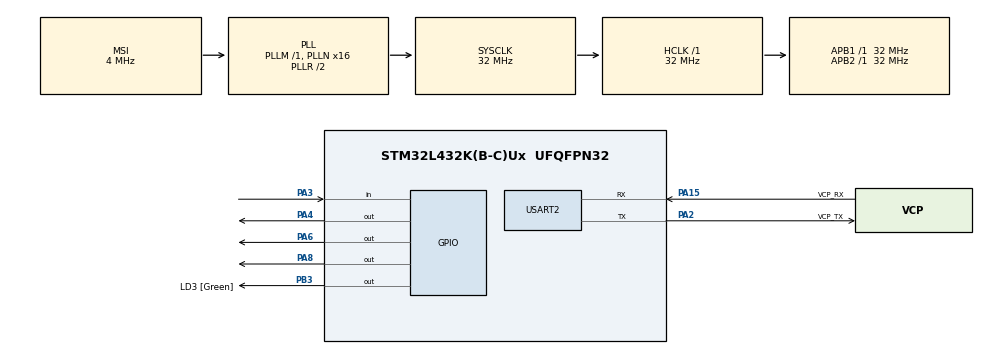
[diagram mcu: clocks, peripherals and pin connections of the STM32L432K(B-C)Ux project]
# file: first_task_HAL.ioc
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Mcu.Family=STM32L4
Mcu.Name=STM32L432K(B-C)Ux
Mcu.Package=UFQFPN32
NVIC.PriorityGroup=NVIC_PRIORITYGROUP_4
PA0.GPIO_Label=MCO [High speed clock in]
PA0.Mode=HSE-External-Clock-Source-for-LittleOrca
PA0.Signal=RCC_CK_IN
PA13\ (JTMS-SWDIO).GPIO_Label=SWDIO
PA13\ (JTMS-SWDIO).Mode=Serial_Wire
PA13\ (JTMS-SWDIO).Signal=SYS_JTMS-SWDIO
PA14\ (JTCK-SWCLK).GPIO_Label=SWCLK
PA14\ (JTCK-SWCLK).Mode=Serial_Wire
PA14\ (JTCK-SWCLK).Signal=SYS_JTCK-SWCLK
PA15\ (JTDI).GPIO_Label=VCP_RX
PA15\ (JTDI).Mode=Asynchronous
PA15\ (JTDI).Signal=USART2_RX
PA2.GPIO_Label=VCP_TX
PA2.Mode=Asynchronous
PA2.Signal=USART2_TX
PA3.Signal=GPIO_Input
PA4.Signal=GPIO_Output
PA6.Signal=GPIO_Output
PA8.Signal=GPIO_Output
PB3\ (JTDO-TRACESWO).GPIO_Label=LD3 [Green]
PB3\ (JTDO-TRACESWO).Signal=GPIO_Output
PC14-OSC32_IN\ (PC14).Mode=LSE-External-Oscillator
PC14-OSC32_IN\ (PC14).Signal=RCC_OSC32_IN
PC15-OSC32_OUT\ (PC15).Mode=LSE-External-Oscillator
PC15-OSC32_OUT\ (PC15).Signal=RCC_OSC32_OUT
ProjectManager.HeapSize=0x200
ProjectManager.StackSize=0x400
ProjectManager.TargetToolchain=STM32CubeIDE
RCC.AHBFreq_Value=32000000
RCC.APB1Freq_Value=32000000
RCC.APB1TimFreq_Value=32000000
RCC.APB2Freq_Value=32000000
RCC.APB2TimFreq_Value=32000000
RCC.CortexFreq_Value=32000000
RCC.HCLKFreq_Value=32000000
RCC.HSE_VALUE=8000000
RCC.HSI16_VALUE=16000000
RCC.HSI48_VALUE=48000000
RCC.HSI_VALUE=16000000
RCC.MSI_VALUE=4000000
RCC.PLLMUL=RCC_PLLMUL_4
RCC.PLLN=16
RCC.SYSCLKFreq_VALUE=32000000
RCC.SYSCLKSource=RCC_SYSCLKSOURCE_PLLCLK
RCC.VCOOutputFreq_Value=64000000
USART2.VirtualMode-Asynchronous=VM_ASYNC
board=NUCLEO-L432KC

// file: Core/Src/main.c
/* USER CODE BEGIN Header */
/**
  ******************************************************************************
  * @file           : main.c
  * @brief          : Main program body
  ******************************************************************************
  * @attention
  *
  * Copyright (c) 2023 STMicroelectronics.
  * All rights reserved.
  *
  * This software is licensed under terms that can be found in the LICENSE file
  * in the root directory of this software component.
  * If no LICENSE file comes with this software, it is provided AS-IS.
  *
  ******************************************************************************
  */
/* USER CODE END Header */
#include "main.h"

UART_HandleTypeDef huart2;

void SystemClock_Config(void);
static void MX_GPIO_Init(void);
static void MX_USART2_UART_Init(void);

int main(void)
{

  /* MCU Configuration--------------------------------------------------------*/

  /* Reset of all peripherals, Initializes the Flash interface and the Systick. */
  HAL_Init();

  /* Configure the system clock */
  SystemClock_Config();

  /* Initialize all configured peripherals */
  MX_GPIO_Init();
  MX_USART2_UART_Init();

  /* Infinite loop */
  /* USER CODE BEGIN WHILE */
  //turn all 3 LEDs off at the start
    HAL_GPIO_WritePin(GPIOA, GPIO_PIN_8, GPIO_PIN_SET);
    HAL_GPIO_WritePin(GPIOA, GPIO_PIN_4, GPIO_PIN_SET);
    HAL_GPIO_WritePin(GPIOA, GPIO_PIN_6, GPIO_PIN_SET);

    int i = 0;

    while (1)
    {
  	  //check if the button is pressed
  	  if (HAL_GPIO_ReadPin(GPIOA, GPIO_PIN_3))
  	  {
  		 //wait a bit for button debouncing
  		 HAL_Delay(50);

  		 while(HAL_GPIO_ReadPin(GPIOA, GPIO_PIN_3))
  		 {
  			 ;
  		 }

  		 if (0 == i)
  			  {
  				//turn off green and blue factor of LED
  			  	HAL_GPIO_WritePin(GPIOA, GPIO_PIN_8, GPIO_PIN_SET);
  			  	HAL_GPIO_WritePin(GPIOA, GPIO_PIN_4, GPIO_PIN_SET);
  				//light LED red
  				HAL_GPIO_WritePin(GPIOA, GPIO_PIN_6, GPIO_PIN_RESET);

  				i = 1;

  			  }
  		  else if (1 == i)
  			  {
  			  	//turn off red and blue factor of LED
  			  	HAL_GPIO_WritePin(GPIOA, GPIO_PIN_6, GPIO_PIN_SET);
  			  	HAL_GPIO_WritePin(GPIOA, GPIO_PIN_4, GPIO_PIN_SET);
  			  	//light LED green
  				HAL_GPIO_WritePin(GPIOA, GPIO_PIN_8, GPIO_PIN_RESET);

  				i = 2;
  			  }
  		  else if (2 == i)
  			  {
  			  	//turn off red and green factor of LED
  			  	HAL_GPIO_WritePin(GPIOA, GPIO_PIN_6, GPIO_PIN_SET);
  			  	HAL_GPIO_WritePin(GPIOA, GPIO_PIN_8, GPIO_PIN_SET);
  			  	//light LED blue
  				HAL_GPIO_WritePin(GPIOA, GPIO_PIN_4, GPIO_PIN_RESET);

  				i = 3;
  			  }
  		 else if (3 == i)
  		  			  {
  		  			  	//turn off LED
  		  			  	HAL_GPIO_WritePin(GPIOA, GPIO_PIN_6, GPIO_PIN_SET);
  		  			  	HAL_GPIO_WritePin(GPIOA, GPIO_PIN_8, GPIO_PIN_SET);
  		  				HAL_GPIO_WritePin(GPIOA, GPIO_PIN_4, GPIO_PIN_SET);

  		  				i = 0;
  		  			  }

  	  }
    /* USER CODE END WHILE */

  }
}

void SystemClock_Config(void)
{
  RCC_OscInitTypeDef RCC_OscInitStruct = {0};
  RCC_ClkInitTypeDef RCC_ClkInitStruct = {0};

  /** Configure the main internal regulator output voltage
  */
  if (HAL_PWREx_ControlVoltageScaling(PWR_REGULATOR_VOLTAGE_SCALE1) != HAL_OK)
  {
    Error_Handler();
  }

  /** Configure LSE Drive Capability
  */
  HAL_PWR_EnableBkUpAccess();
  __HAL_RCC_LSEDRIVE_CONFIG(RCC_LSEDRIVE_LOW);

  /** Initializes the RCC Oscillators according to the specified parameters
  * in the RCC_OscInitTypeDef structure.
  */
  RCC_OscInitStruct.OscillatorType = RCC_OSCILLATORTYPE_LSE|RCC_OSCILLATORTYPE_MSI;
  RCC_OscInitStruct.LSEState = RCC_LSE_ON;
  RCC_OscInitStruct.MSIState = RCC_MSI_ON;
  RCC_OscInitStruct.MSICalibrationValue = 0;
  RCC_OscInitStruct.MSIClockRange = RCC_MSIRANGE_6;
  RCC_OscInitStruct.PLL.PLLState = RCC_PLL_ON;
  RCC_OscInitStruct.PLL.PLLSource = RCC_PLLSOURCE_MSI;
  RCC_OscInitStruct.PLL.PLLM = 1;
  RCC_OscInitStruct.PLL.PLLN = 16;
  RCC_OscInitStruct.PLL.PLLP = RCC_PLLP_DIV7;
  RCC_OscInitStruct.PLL.PLLQ = RCC_PLLQ_DIV2;
  RCC_OscInitStruct.PLL.PLLR = RCC_PLLR_DIV2;
  if (HAL_RCC_OscConfig(&RCC_OscInitStruct) != HAL_OK)
  {
    Error_Handler();
  }

  /** Initializes the CPU, AHB and APB buses clocks
  */
  RCC_ClkInitStruct.ClockType = RCC_CLOCKTYPE_HCLK|RCC_CLOCKTYPE_SYSCLK
                              |RCC_CLOCKTYPE_PCLK1|RCC_CLOCKTYPE_PCLK2;
  RCC_ClkInitStruct.SYSCLKSource = RCC_SYSCLKSOURCE_PLLCLK;
  RCC_ClkInitStruct.AHBCLKDivider = RCC_SYSCLK_DIV1;
  RCC_ClkInitStruct.APB1CLKDivider = RCC_HCLK_DIV1;
  RCC_ClkInitStruct.APB2CLKDivider = RCC_HCLK_DIV1;

  if (HAL_RCC_ClockConfig(&RCC_ClkInitStruct, FLASH_LATENCY_1) != HAL_OK)
  {
    Error_Handler();
  }

  /** Enable MSI Auto calibration
  */
  HAL_RCCEx_EnableMSIPLLMode();
}

static void MX_USART2_UART_Init(void)
{

  huart2.Instance = USART2;
  huart2.Init.BaudRate = 115200;
  huart2.Init.WordLength = UART_WORDLENGTH_8B;
  huart2.Init.StopBits = UART_STOPBITS_1;
  huart2.Init.Parity = UART_PARITY_NONE;
  huart2.Init.Mode = UART_MODE_TX_RX;
  huart2.Init.HwFlowCtl = UART_HWCONTROL_NONE;
  huart2.Init.OverSampling = UART_OVERSAMPLING_16;
  huart2.Init.OneBitSampling = UART_ONE_BIT_SAMPLE_DISABLE;
  huart2.AdvancedInit.AdvFeatureInit = UART_ADVFEATURE_NO_INIT;
  if (HAL_UART_Init(&huart2) != HAL_OK)
  {
    Error_Handler();
  }

}

static void MX_GPIO_Init(void)
{
  GPIO_InitTypeDef GPIO_InitStruct = {0};

  /* GPIO Ports Clock Enable */
  __HAL_RCC_GPIOC_CLK_ENABLE();
  __HAL_RCC_GPIOA_CLK_ENABLE();
  __HAL_RCC_GPIOB_CLK_ENABLE();

  /*Configure GPIO pin Output Level */
  HAL_GPIO_WritePin(GPIOA, GPIO_PIN_4|GPIO_PIN_6|GPIO_PIN_8, GPIO_PIN_RESET);

  /*Configure GPIO pin Output Level */
  HAL_GPIO_WritePin(LD3_GPIO_Port, LD3_Pin, GPIO_PIN_RESET);

  /*Configure GPIO pin : PA3 */
  GPIO_InitStruct.Pin = GPIO_PIN_3;
  GPIO_InitStruct.Mode = GPIO_MODE_INPUT;
  GPIO_InitStruct.Pull = GPIO_NOPULL;
  HAL_GPIO_Init(GPIOA, &GPIO_InitStruct);

  /*Configure GPIO pins : PA4 PA6 PA8 */
  GPIO_InitStruct.Pin = GPIO_PIN_4|GPIO_PIN_6|GPIO_PIN_8;
  GPIO_InitStruct.Mode = GPIO_MODE_OUTPUT_PP;
  GPIO_InitStruct.Pull = GPIO_NOPULL;
  GPIO_InitStruct.Speed = GPIO_SPEED_FREQ_LOW;
  HAL_GPIO_Init(GPIOA, &GPIO_InitStruct);

  /*Configure GPIO pin : LD3_Pin */
  GPIO_InitStruct.Pin = LD3_Pin;
  GPIO_InitStruct.Mode = GPIO_MODE_OUTPUT_PP;
  GPIO_InitStruct.Pull = GPIO_NOPULL;
  GPIO_InitStruct.Speed = GPIO_SPEED_FREQ_LOW;
  HAL_GPIO_Init(LD3_GPIO_Port, &GPIO_InitStruct);

}

void Error_Handler(void)
{
  __disable_irq();
  while (1)
  {
  }
}
